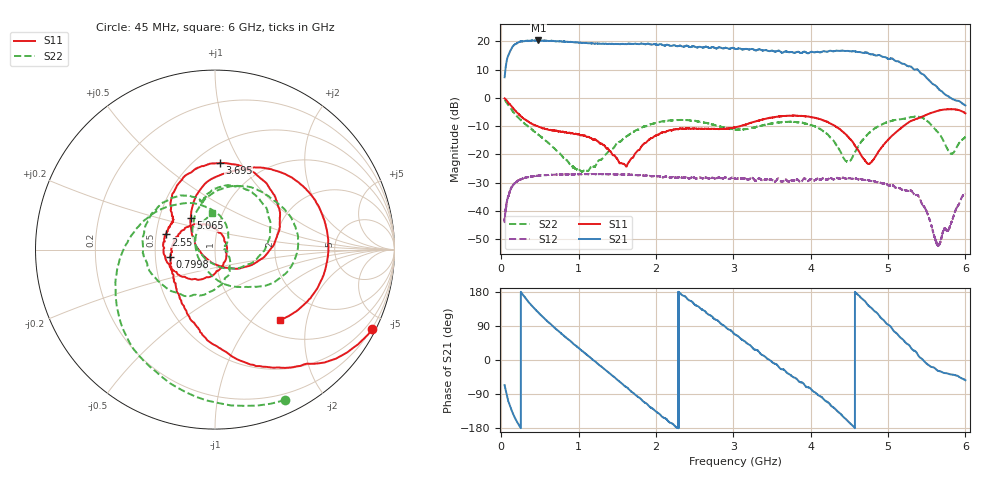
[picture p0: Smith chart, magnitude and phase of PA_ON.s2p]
!Agilent Technologies,E8364A,US41440144,A.06.04.32
!Agilent E8364A: A.06.04.32
!Date: Thursday, November 08, 2018 14:15:29
!Correction: S11(Full 2 Port(1,2)) S21(Full 2 Port(1,2)) S12(Full 2 Port(1,2)) S22(Full 2 Port(1,2))
!S2P File: Measurements: S11, S21, S12, S22:
# Hz S  dB  R 50
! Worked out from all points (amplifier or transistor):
!   16001 points, 45 MHz to 6 GHz, reference 50 ohm
!   highest |S21| = 20.3 dB at 481.6 MHz (marker M1)
!   |S21| within 3 dB of that: 130.7 MHz to 3.026 GHz (2.895 GHz wide, 183 % of centre)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
!   unconditionally stable (mu >= 1): start of sweep to end of sweep
!   at 1.037 GHz: K = 1.34, MAG = 19.8 dB, |S12| = -27.0 dB
!   at 3.022 GHz: K = 1.72, MAG = 18.0 dB, |S12| = -28.5 dB
!   at 6 GHz: K = 22.99, MAG = -1.0 dB, |S12| = -33.9 dB
!   S11 on the Smith chart (normalised r, x): 45 MHz: 0.18, -4.22; 799.8 MHz: 0.60, -0.06; 2.55 GHz: 0.56, +0.10; 3.695 GHz: 0.65, +0.81; 5.065 GHz: 0.72, +0.27; 6 GHz: 1.28, -1.40
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4.5e7  -0.17 -26.6  7.32 -66.4  -42.82 141.6  -0.68 -65.1
1.302309e8  -2.79 -64.7  17.35 -130.1  -31.84 64.3  -3.96 -149.4
2.426316e8  -6.14 -96.2  19.92 -176.0  -28.90 19.0  -7.52 156.1
4.815759e8  -10.13 -133.3  20.35 125.3  -27.50 -34.4  -12.99 94.8
7.997962e8  -11.93 -170.2  19.93 66.0  -27.06 -86.7  -20.99 36.8
1.037624e9  -13.15 159.5  19.48 25.3  -26.95 -121.6  -25.96 9.4
1.297411e9  -16.11 116.3  19.15 -17.8  -26.96 -158.9  -21.80 -25.3
1.587345e9  -23.36 6.9  19.09 -67.1  -27.08 159.7  -14.15 -78.4
1.812146e9  -17.21 -91.9  19.25 -104.1  -27.29 128.0  -10.61 -118.7
2.030248e9  -12.97 -136.6  18.81 -140.2  -27.69 99.3  -8.66 -155.1
2.301573e9  -10.91 -173.9  18.48 178.4  -28.02 64.5  -7.79 165.4
2.549822e9  -10.88 162.8  18.02 141.2  -28.27 33.4  -8.36 134.8
3.0225e9  -10.38 141.8  17.40 67.3  -28.53 -31.4  -11.20 104.7
3.349653e9  -7.85 123.0  17.16 17.2  -28.59 -75.7  -9.87 95.4
3.695043e9  -6.34 87.0  16.36 -33.9  -29.26 -121.0  -8.48 63.2
4.015124e9  -6.84 46.9  16.35 -79.3  -28.73 -161.8  -9.73 20.0
4.257418e9  -9.08 11.9  16.70 -118.8  -28.28 162.9  -14.08 -25.1
4.551074e9  -15.87 -41.7  16.56 -174.7  -28.59 114.3  -20.33 178.9
5.007748e9  -14.62 136.5  13.79 92.5  -30.99 29.0  -8.44 69.3
5.065065e9  -13.06 127.7  13.77 78.7  -30.94 17.6  -7.97 60.4
5.496802e9  -5.98 65.3  7.14 -9.3  -40.07 -87.6  -7.98 -22.5
6e9  -5.44 -47.2  -2.64 -53.4  -33.86 -100.0  -13.81 94.6
